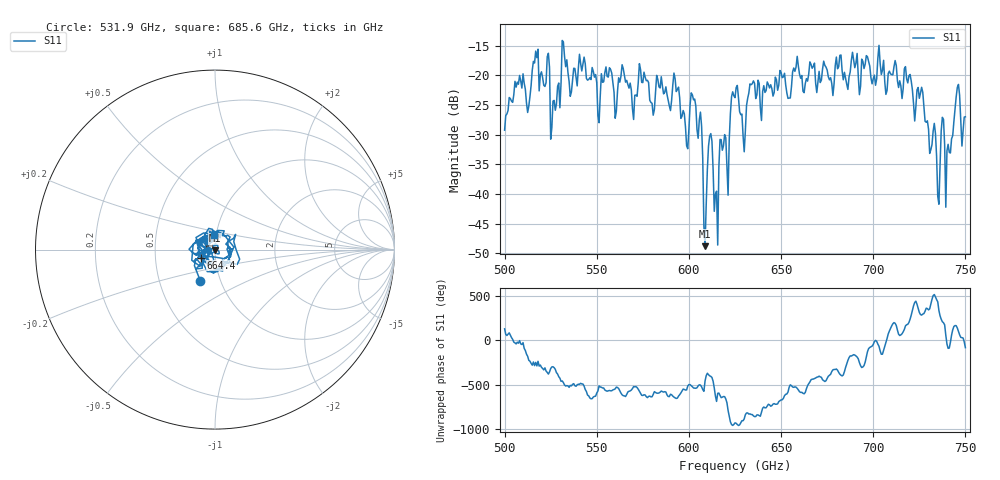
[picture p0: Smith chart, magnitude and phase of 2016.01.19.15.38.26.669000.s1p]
!Created with skrf (http://scikit-rf.org).
# GHz S RI R 50.0
!freq ReS11 ImS11
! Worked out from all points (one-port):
!   401 points, 500 GHz to 750 GHz, reference 50 ohm
!   lowest |S11| = -48.8 dB at 608.8 GHz (marker M1), VSWR 1.01, Z = 49.9 - j0.36 ohm
!   |S11| at or under -10 dB: start of sweep to end of sweep
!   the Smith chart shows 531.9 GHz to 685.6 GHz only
!   S11 on the Smith chart (normalised r, x): 531.9 GHz: 0.80, -0.29; 664.4 GHz: 0.85, -0.08; 685.6 GHz: 0.98, +0.17
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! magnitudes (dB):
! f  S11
! 500 GHz  -29.2
! 506.9 GHz  -21.1
! 513.1 GHz  -25.2
! 516.9 GHz  -15.9
! 526.2 GHz  -24.3
! 531.2 GHz  -14.1
! 531.9 GHz  -14.3
! 562.5 GHz  -21.1
! 593.8 GHz  -22.4
! 598.8 GHz  -31.9
! 602.5 GHz  -24.1
! 606.2 GHz  -26.2
! 608.8 GHz  -48.8
! 611.9 GHz  -29.8
! 615 GHz  -39.5
! 625 GHz  -23.7
! 629.4 GHz  -30.1
! 634.4 GHz  -21.4
! 656.2 GHz  -19.4
! 664.4 GHz  -21.0
! 685.6 GHz  -21.5
! 687.5 GHz  -19.4
! 718.8 GHz  -21.3
! 735 GHz  -40.4
! 737.5 GHz  -27.1
! 740.6 GHz  -31.6
! 745.6 GHz  -22.0
! 750 GHz  -27.0
